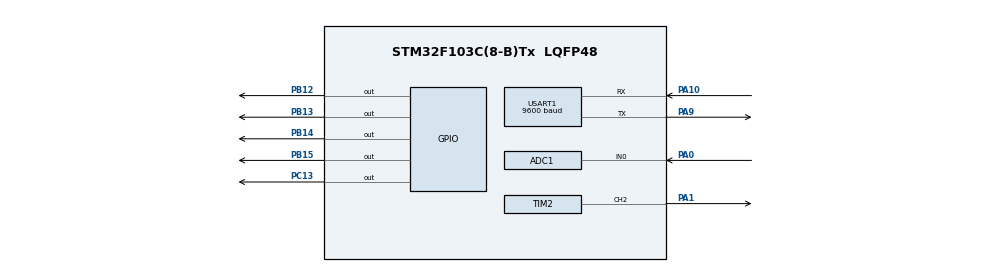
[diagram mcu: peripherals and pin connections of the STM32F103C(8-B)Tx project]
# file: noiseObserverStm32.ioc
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ADC1.Channel-4\#ChannelRegularConversion=ADC_CHANNEL_0
ADC1.NbrOfConversionFlag=1
ADC1.Rank-4\#ChannelRegularConversion=1
ADC1.SamplingTime-4\#ChannelRegularConversion=ADC_SAMPLETIME_239CYCLES_5
ADC1.master=1
Mcu.Family=STM32F1
Mcu.Name=STM32F103C(8-B)Tx
Mcu.Package=LQFP48
NVIC.PriorityGroup=NVIC_PRIORITYGROUP_4
PA0-WKUP.Signal=ADCx_IN0
PA1.Signal=S_TIM2_CH2
PA10.Mode=Asynchronous
PA10.Signal=USART1_RX
PA13.Mode=Serial_Wire
PA13.Signal=SYS_JTMS-SWDIO
PA14.Mode=Serial_Wire
PA14.Signal=SYS_JTCK-SWCLK
PA9.Mode=Asynchronous
PA9.Signal=USART1_TX
PB12.Signal=GPIO_Output
PB13.Signal=GPIO_Output
PB14.Signal=GPIO_Output
PB15.Signal=GPIO_Output
PC13-TAMPER-RTC.PinState=GPIO_PIN_SET
PC13-TAMPER-RTC.Signal=GPIO_Output
PD0-OSC_IN.Mode=HSE-External-Oscillator
PD0-OSC_IN.Signal=RCC_OSC_IN
PD1-OSC_OUT.Mode=HSE-External-Oscillator
PD1-OSC_OUT.Signal=RCC_OSC_OUT
ProjectManager.HeapSize=0x200
ProjectManager.StackSize=0x400
ProjectManager.TargetToolchain=CMake
RCC.APB1Freq_Value=8000000
RCC.APB2Freq_Value=8000000
SH.ADCx_IN0.0=ADC1_IN0,IN0
SH.S_TIM2_CH2.0=TIM2_CH2,PWM Generation2 CH2
TIM2.AutoReloadPreload=TIM_AUTORELOAD_PRELOAD_ENABLE
TIM2.Channel-PWM\ Generation2\ CH2=TIM_CHANNEL_2
TIM2.Period=19999
TIM2.Prescaler=71
TIM2.Pulse-PWM\ Generation2\ CH2=1500
USART1.BaudRate=9600
USART1.VirtualMode=VM_ASYNC
VP_TIM2_VS_ClockSourceINT.Mode=Internal
board=custom

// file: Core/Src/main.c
/* USER CODE BEGIN Header */
/**
  ******************************************************************************
  * @file           : main.c
  * @brief          : Main program body
  ******************************************************************************
  * @attention
  *
  * Copyright (c) 2026 STMicroelectronics.
  * All rights reserved.
  *
  * This software is licensed under terms that can be found in the LICENSE file
  * in the root directory of this software component.
  * If no LICENSE file comes with this software, it is provided AS-IS.
  *
  ******************************************************************************
  */
/* USER CODE END Header */
#include "main.h"
#include "adc.h"
#include "tim.h"
#include "usart.h"
#include "gpio.h"

/* USER CODE BEGIN Includes */
#include <stdint.h>
/* USER CODE END Includes */

/* USER CODE BEGIN PD */

/* ===== 噪声检测参数(按现场调) ===== */
#define MIC_WINDOW_MS        40U     /* 每次采样窗口,捕捉若干个语音周期 */
#define NOISE_THRESHOLD      600U    /* ADC 峰峰值阈值(0~4095),越大越不灵敏,需现场标定 X 分贝 */
#define NOISE_SUSTAIN_MS     300U   /* Y: 持续吵闹多久后报警;2 分钟则填 (2U*60U*1000U) */
#define QUIET_RESET_MS       1500U   /* 允许的短暂安静间隙,超过则重新计时 */
#define ALARM_COOLDOWN_MS    8000U   /* 一次报警后的冷却时间,避免连环触发 */
#define LED_BLINK_DURATION_MS 6000U  /* 外接 LED 闪烁总时长 */
#define LED_BLINK_INTERVAL_MS 150U   /* 亮/灭各持续多久 */

/* ===== 舵机脉宽(微秒),SG90 约 500=0° 1500=90° 2500=180° ===== */
#define SERVO_RETRACT_US     600U    /* 平时停靠位置 */
#define SERVO_SWEEP_MIN_US   500U    /* 搜索扫动左端(舵机极限约 0°) */
#define SERVO_SWEEP_MAX_US   2500U   /* 搜索扫动右端(舵机极限约 180°) */
#define SERVO_SWEEP_STEP_US  50U     /* 每步转动量 */
#define SERVO_SWEEP_STEP_MS  20U     /* 每步间隔,越小越快 */
#define SERVO_SWEEP_ROUNDS   4U      /* 来回搜索圈数(一来一回算 1 圈) */

/* ===== DFPlayer ===== */
#define DFPLAYER_VOLUME      25U     /* 音量 0~30 */
#define DFPLAYER_TRACK_MIN   1U      /* 0001.mp3 */
#define DFPLAYER_TRACK_MAX   9U      /* 0009.mp3 */

/* USER CODE END PD */

/* USER CODE BEGIN PV */
static uint32_t s_loudAccumMs = 0;   /* 累计的连续吵闹时间 */
static uint32_t s_quietStreakMs = 0; /* 当前连续安静时间 */
static uint8_t  s_lastTrack = 1U;    /* 上次播放曲目;首次触发前视为 0001.mp3 */
/* USER CODE END PV */

void SystemClock_Config(void);

/* USER CODE BEGIN 0 */

/* 向 DFPlayer Mini 发送一条 10 字节命令帧 */
static void DFPlayer_SendCmd(uint8_t cmd, uint16_t param)
{
  uint8_t dh = (uint8_t)((param >> 8) & 0xFF);
  uint8_t dl = (uint8_t)(param & 0xFF);
  int16_t sum = (int16_t)-(0xFF + 0x06 + cmd + 0x00 + dh + dl);
  uint8_t frame[10];
  frame[0] = 0x7E;            /* 起始 */
  frame[1] = 0xFF;            /* 版本 */
  frame[2] = 0x06;            /* 数据长度 */
  frame[3] = cmd;             /* 命令 */
  frame[4] = 0x00;            /* 是否需要应答,0=不需要 */
  frame[5] = dh;              /* 参数高字节 */
  frame[6] = dl;              /* 参数低字节 */
  frame[7] = (uint8_t)((sum >> 8) & 0xFF); /* 校验高 */
  frame[8] = (uint8_t)(sum & 0xFF);        /* 校验低 */
  frame[9] = 0xEF;            /* 结束 */
  HAL_UART_Transmit(&huart1, frame, sizeof(frame), 100);
}

/* 设置舵机脉宽(微秒);TIM2 已配成 1MHz 计数,1 计数 = 1µs */
static void Servo_SetMicroseconds(uint16_t us)
{
  __HAL_TIM_SET_COMPARE(&htim2, TIM_CHANNEL_2, us);
}

/* 统一控制 4 个红灯(PB12~PB15,高电平亮) */
static void Leds_All(GPIO_PinState st)
{
  HAL_GPIO_WritePin(GPIOB, GPIO_PIN_12 | GPIO_PIN_13 | GPIO_PIN_14 | GPIO_PIN_15, st);
}

/* 板载灯 PC13 低电平亮 */
static void BoardLed(uint8_t on)
{
  HAL_GPIO_WritePin(GPIOC, GPIO_PIN_13, on ? GPIO_PIN_RESET : GPIO_PIN_SET);
}

/* 采样一段时间内麦克风的峰峰值,用来表征"响度" */
static uint16_t Mic_ReadPeakToPeak(uint32_t window_ms)
{
  uint16_t vmin = 4095, vmax = 0;
  uint32_t start = HAL_GetTick();
  while ((HAL_GetTick() - start) < window_ms)
  {
    HAL_ADC_Start(&hadc1);
    if (HAL_ADC_PollForConversion(&hadc1, 10) == HAL_OK)
    {
      uint16_t v = (uint16_t)HAL_ADC_GetValue(&hadc1);
      if (v > vmax) vmax = v;
      if (v < vmin) vmin = v;
    }
  }
  HAL_ADC_Stop(&hadc1);
  return (uint16_t)(vmax - vmin);
}

/* 简易随机数(无标准库 rand 时用) */
static uint32_t SimpleRandom(void)
{
  return HAL_GetTick() ^ (uint32_t)SysTick->VAL ^ ((uint32_t)s_lastTrack << 8);
}

/* 从除上一首外的曲目中随机选一首,并更新 s_lastTrack */
static uint8_t PickNextTrack(void)
{
  uint8_t pool[DFPLAYER_TRACK_MAX - 1U];
  uint8_t count = 0U;

  for (uint8_t t = DFPLAYER_TRACK_MIN; t <= DFPLAYER_TRACK_MAX; t++)
  {
    if (t != s_lastTrack)
    {
      pool[count++] = t;
    }
  }

  uint8_t idx = (uint8_t)(SimpleRandom() % count);
  s_lastTrack = pool[idx];
  return s_lastTrack;
}

/* 舵机从 from 平滑扫到 to,同时按间隔闪灯 */
static void Servo_SweepWhileBlink(uint16_t from, uint16_t to,
                                  uint32_t *ledNextToggle, uint8_t *ledOn)
{
  int16_t dir = (to >= from) ? (int16_t)SERVO_SWEEP_STEP_US
                             : -(int16_t)SERVO_SWEEP_STEP_US;
  uint16_t pos = from;

  while (1)
  {
    Servo_SetMicroseconds(pos);
    HAL_Delay(SERVO_SWEEP_STEP_MS);

    /* 与舵机扫动并行闪灯 */
    if ((HAL_GetTick() - *ledNextToggle) >= LED_BLINK_INTERVAL_MS)
    {
      *ledOn = !*ledOn;
      Leds_All(*ledOn ? GPIO_PIN_SET : GPIO_PIN_RESET);
      *ledNextToggle = HAL_GetTick();
    }

    if (pos == to)
    {
      break;
    }

    int16_t next = (int16_t)pos + dir;
    if ((dir > 0 && next >= (int16_t)to) || (dir < 0 && next <= (int16_t)to))
    {
      pos = to;
    }
    else
    {
      pos = (uint16_t)next;
    }
  }
}

/* 触发报警:播报语音 + 雷达式来回搜索 + 闪红灯 */
static void TriggerAlarm(void)
{
  uint8_t track = PickNextTrack();
  DFPlayer_SendCmd(0x03, track);            /* 播放随机语音提醒 */

  uint32_t ledNextToggle = HAL_GetTick();
  uint8_t ledOn = 0U;
  uint32_t alarmStart = HAL_GetTick();

  Leds_All(GPIO_PIN_SET);
  ledOn = 1U;

  /* 多圈来回扫描,像雷达在搜索 */
  for (uint8_t r = 0U; r < SERVO_SWEEP_ROUNDS; r++)
  {
    Servo_SweepWhileBlink(SERVO_SWEEP_MIN_US, SERVO_SWEEP_MAX_US,
                          &ledNextToggle, &ledOn);
    Servo_SweepWhileBlink(SERVO_SWEEP_MAX_US, SERVO_SWEEP_MIN_US,
                          &ledNextToggle, &ledOn);
  }

  /* 若扫描结束得太早,把灯继续闪满设定时长 */
  while ((HAL_GetTick() - alarmStart) < LED_BLINK_DURATION_MS)
  {
    Leds_All(GPIO_PIN_SET);
    HAL_Delay(LED_BLINK_INTERVAL_MS);
    Leds_All(GPIO_PIN_RESET);
    HAL_Delay(LED_BLINK_INTERVAL_MS);
  }

  Leds_All(GPIO_PIN_RESET);
  Servo_SetMicroseconds(SERVO_RETRACT_US);  /* 回到停靠位 */
  HAL_Delay(300);
}

/* USER CODE END 0 */

int main(void)
{

  /* MCU Configuration--------------------------------------------------------*/

  /* Reset of all peripherals, Initializes the Flash interface and the Systick. */
  HAL_Init();

  /* Configure the system clock */
  SystemClock_Config();

  /* Initialize all configured peripherals */
  MX_GPIO_Init();
  MX_ADC1_Init();
  MX_TIM2_Init();
  MX_USART1_UART_Init();
  /* USER CODE BEGIN 2 */

  /* --- 按实际时钟把 TIM2 配成 1MHz 计数、50Hz 周期(20ms) --- */
  /* CubeMX 里 PSC=71 是为 72MHz 准备的;当前若是 HSI 8MHz 会变成 ~5.5Hz,这里运行时纠正 */
  {
    uint32_t timclk = HAL_RCC_GetPCLK1Freq();
    /* APB1 分频 !=1 时,定时器时钟为 PCLK1 的 2 倍 */
    if (((RCC->CFGR & RCC_CFGR_PPRE1) >> RCC_CFGR_PPRE1_Pos) >= 4U)
    {
      timclk *= 2U;
    }
    __HAL_TIM_SET_PRESCALER(&htim2, (timclk / 1000000U) - 1U); /* → 1MHz,1 计数=1µs */
    __HAL_TIM_SET_AUTORELOAD(&htim2, 19999U);                  /* 20000µs=20ms=50Hz */
  }
  HAL_TIM_PWM_Start(&htim2, TIM_CHANNEL_2);
  Servo_SetMicroseconds(SERVO_RETRACT_US);

  /* ADC 自校准,提高读数精度 */
  HAL_ADCEx_Calibration_Start(&hadc1);

  /* 初始状态:灯全灭 */
  Leds_All(GPIO_PIN_RESET);
  BoardLed(0);

  /* DFPlayer 上电初始化:等模块启动 → 选 TF 卡 → 设音量 */
  HAL_Delay(500);
  DFPlayer_SendCmd(0x09, 0x0002);   /* 指定播放设备:TF 卡 */
  HAL_Delay(200);
  DFPlayer_SendCmd(0x06, DFPLAYER_VOLUME);
  HAL_Delay(200);

  /* USER CODE END 2 */

  /* Infinite loop */
  while (1)
  {

    /* USER CODE BEGIN 3 */
    uint16_t amp = Mic_ReadPeakToPeak(MIC_WINDOW_MS);

    if (amp >= NOISE_THRESHOLD)
    {
      s_loudAccumMs += MIC_WINDOW_MS;   /* 吵闹累计 */
      s_quietStreakMs = 0;
    }
    else
    {
      s_quietStreakMs += MIC_WINDOW_MS;
      if (s_quietStreakMs >= QUIET_RESET_MS)
      {
        s_loudAccumMs = 0;              /* 安静够久,重新计时 */
      }
    }

    if (s_loudAccumMs >= NOISE_SUSTAIN_MS)
    {
      TriggerAlarm();
      s_loudAccumMs = 0;
      s_quietStreakMs = 0;
      HAL_Delay(ALARM_COOLDOWN_MS);     /* 冷却,避免连环触发 */
    }
  }
  /* USER CODE END 3 */
}

void SystemClock_Config(void)
{
  RCC_OscInitTypeDef RCC_OscInitStruct = {0};
  RCC_ClkInitTypeDef RCC_ClkInitStruct = {0};
  RCC_PeriphCLKInitTypeDef PeriphClkInit = {0};

  /** Initializes the RCC Oscillators according to the specified parameters
  * in the RCC_OscInitTypeDef structure.
  */
  RCC_OscInitStruct.OscillatorType = RCC_OSCILLATORTYPE_HSI;
  RCC_OscInitStruct.HSIState = RCC_HSI_ON;
  RCC_OscInitStruct.HSICalibrationValue = RCC_HSICALIBRATION_DEFAULT;
  RCC_OscInitStruct.PLL.PLLState = RCC_PLL_NONE;
  if (HAL_RCC_OscConfig(&RCC_OscInitStruct) != HAL_OK)
  {
    Error_Handler();
  }

  /** Initializes the CPU, AHB and APB buses clocks
  */
  RCC_ClkInitStruct.ClockType = RCC_CLOCKTYPE_HCLK|RCC_CLOCKTYPE_SYSCLK
                              |RCC_CLOCKTYPE_PCLK1|RCC_CLOCKTYPE_PCLK2;
  RCC_ClkInitStruct.SYSCLKSource = RCC_SYSCLKSOURCE_HSI;
  RCC_ClkInitStruct.AHBCLKDivider = RCC_SYSCLK_DIV1;
  RCC_ClkInitStruct.APB1CLKDivider = RCC_HCLK_DIV1;
  RCC_ClkInitStruct.APB2CLKDivider = RCC_HCLK_DIV1;

  if (HAL_RCC_ClockConfig(&RCC_ClkInitStruct, FLASH_LATENCY_0) != HAL_OK)
  {
    Error_Handler();
  }
  PeriphClkInit.PeriphClockSelection = RCC_PERIPHCLK_ADC;
  PeriphClkInit.AdcClockSelection = RCC_ADCPCLK2_DIV2;
  if (HAL_RCCEx_PeriphCLKConfig(&PeriphClkInit) != HAL_OK)
  {
    Error_Handler();
  }
}

void Error_Handler(void)
{
  __disable_irq();
  while (1)
  {
  }
}
